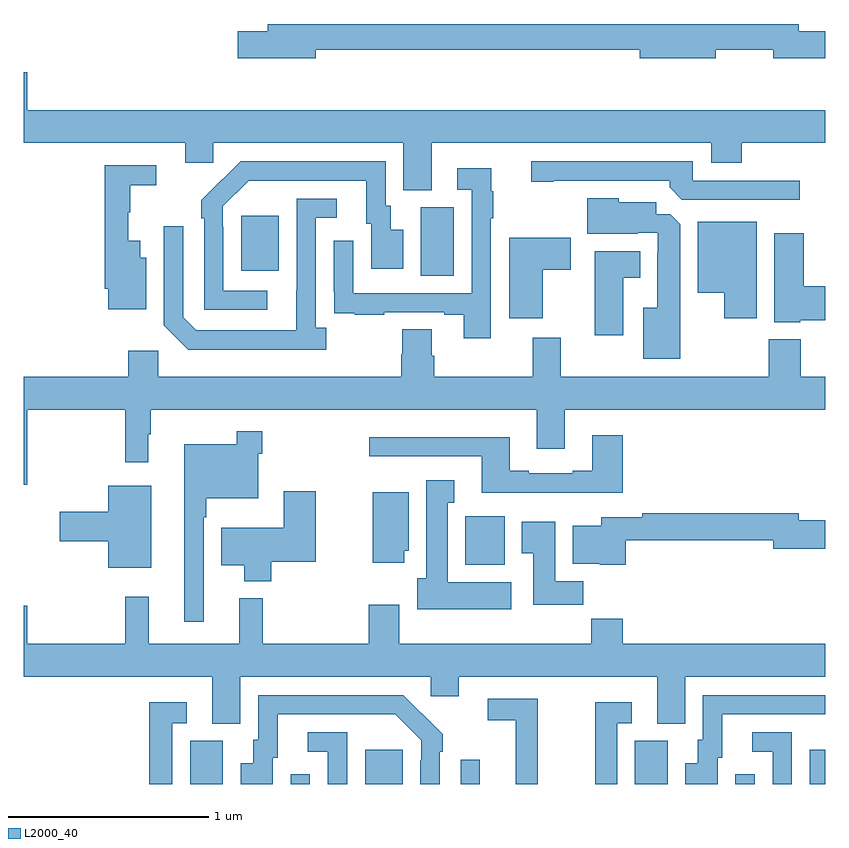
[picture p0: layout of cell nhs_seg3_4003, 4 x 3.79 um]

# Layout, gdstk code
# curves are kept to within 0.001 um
import gdstk
lib = gdstk.Library(unit=1e-6, precision=1e-09)
def R(c, l, rs):  # rectangles x0, y0, x1, y1
    for r in rs: c.add(gdstk.rectangle(r[:2], r[2:], *l))
def P(c, l, *ps):  # polygons
    for p in ps: c.add(gdstk.Polygon(p, *l))
L2000_40 = (2000, 40)

nhs_seg3_4003 = lib.new_cell('nhs_seg3_4003')
R(nhs_seg3_4003, L2000_40, [(321.83,680.4,321.994,680.616), (322.332,680.4,322.428,680.449), (322.703,680.4,322.891,680.572), (323.181,680.4,323.277,680.521), (324.05,680.4,324.214,680.616), (324.552,680.4,324.648,680.449), (324.923,680.4,325,680.572), (323.204,681.494,323.401,681.736), (322.982,682.936,323.146,683.28), (322.085,682.961,322.273,683.236)])
P(nhs_seg3_4003, L2000_40, [(322.456,684.066),(324.074,684.066),(324.074,684.023),(324.454,684.023),(324.454,684.066),(324.74,684.066),(324.74,684.023),(325,684.023),(325,684.158),(324.868,684.158),(324.868,684.194),(322.217,684.194),(322.217,684.158),(322.068,684.158),(322.068,684.023),(322.456,684.023)],
  [(323.035,683.6),(324.431,683.6),(324.431,683.501),(324.584,683.501),(324.584,683.6),(325,683.6),(325,683.764),(321.016,683.764),(321.016,683.953),(321,683.953),(321,683.6),(321.806,683.6),(321.806,683.502),(321.945,683.502),(321.945,683.6),(322.895,683.6),(322.895,683.365),(323.035,683.365)],
  [(322.216,682.863),(321.996,682.863),(321.996,683.183),(321.993,683.183),(321.993,683.283),(322.122,683.412),(322.709,683.412),(322.709,683.196),(322.733,683.196),(322.733,682.971),(322.894,682.971),(322.894,683.167),(322.831,683.167),(322.831,683.286),(322.806,683.286),(322.806,683.508),(322.082,683.508),(321.885,683.313),(321.885,683.225),(321.9,683.225),(321.9,682.767),(322.216,682.767)],
  [(324.874,683.412),(324.339,683.412),(324.339,683.508),(323.532,683.508),(323.532,683.407),(323.644,683.407),(323.644,683.412),(324.224,683.412),(324.224,683.378),(324.285,683.316),(324.874,683.316)],
  [(321.61,683.026),(321.58,683.026),(321.58,683.113),(321.521,683.113),(321.521,683.253),(321.532,683.253),(321.532,683.389),(321.661,683.389),(321.661,683.49),(321.403,683.49),(321.403,682.873),(321.422,682.873),(321.422,682.769),(321.61,682.769)],
  [(323.331,683.224),(323.344,683.224),(323.344,683.36),(323.333,683.36),(323.333,683.473),(323.163,683.473),(323.163,683.367),(323.235,683.367),(323.235,682.851),(322.644,682.851),(322.644,683.113),(322.548,683.113),(322.548,682.858),(322.549,682.858),(322.549,682.749),(322.651,682.749),(322.651,682.743),(322.799,682.743),(322.799,682.755),(323.099,682.755),(323.099,682.743),(323.195,682.743),(323.195,682.626),(323.331,682.626)],
  [(324.277,683.195),(324.228,683.244),(324.157,683.244),(324.157,683.305),(323.97,683.305),(323.97,683.323),(323.813,683.323),(323.813,683.147),(324.065,683.147),(324.065,683.151),(324.165,683.151),(324.165,683.051),(324.161,683.051),(324.161,682.777),(324.092,682.777),(324.092,682.523),(324.277,682.523)],
  [(322.51,682.678),(322.458,682.678),(322.458,683.226),(322.561,683.226),(322.561,683.322),(322.362,683.322),(322.361,682.665),(321.861,682.665),(321.795,682.731),(321.795,683.185),(321.699,683.185),(321.699,682.689),(321.82,682.568),(322.51,682.568)],
  [(324.658,683.206),(324.365,683.206),(324.365,682.853),(324.497,682.853),(324.497,682.725),(324.658,682.725)],
  [(324.876,682.715),(325,682.715),(325,682.886),(324.893,682.886),(324.893,683.149),(324.746,683.149),(324.746,682.706),(324.876,682.706)],
  [(323.59,682.966),(323.731,682.966),(323.731,683.128),(323.423,683.128),(323.423,682.725),(323.59,682.725)],
  [(323.992,682.928),(324.076,682.928),(324.076,683.059),(323.849,683.059),(323.849,682.641),(323.992,682.641)],
  [(321.016,682.268),(321.505,682.268),(321.505,682.005),(321.622,682.005),(321.622,682.145),(321.634,682.145),(321.634,682.268),(323.561,682.268),(323.561,682.074),(323.701,682.074),(323.701,682.268),(325,682.268),(325,682.432),(324.878,682.432),(324.878,682.621),(324.718,682.621),(324.718,682.432),(323.68,682.432),(323.68,682.627),(323.54,682.627),(323.54,682.432),(323.048,682.432),(323.048,682.538),(323.035,682.538),(323.035,682.67),(322.888,682.67),(322.888,682.545),(322.883,682.545),(322.883,682.432),(321.672,682.432),(321.672,682.564),(321.521,682.564),(321.521,682.432),(321,682.432),(321,681.894),(321.016,681.894)],
  [(321.897,681.731),(321.91,681.731),(321.91,681.827),(322.17,681.827),(322.17,682.049),(322.19,682.049),(322.19,682.162),(322.062,682.162),(322.062,682.096),(321.8,682.096),(321.8,681.21),(321.897,681.21)],
  [(323.99,682.141),(323.837,682.141),(323.837,681.964),(323.741,681.964),(323.741,681.951),(323.521,681.951),(323.521,681.964),(323.425,681.964),(323.425,682.132),(322.725,682.132),(322.725,682.035),(323.285,682.035),(323.285,681.854),(323.99,681.854)],
  [(323.434,681.406),(323.116,681.406),(323.116,681.803),(323.149,681.803),(323.149,681.916),(323.009,681.916),(323.009,681.426),(322.964,681.426),(322.964,681.272),(323.434,681.272)],
  [(321.637,681.889),(321.422,681.889),(321.422,681.758),(321.18,681.758),(321.18,681.611),(321.422,681.611),(321.422,681.479),(321.637,681.479)],
  [(322.235,681.509),(322.456,681.509),(322.456,681.862),(322.298,681.862),(322.298,681.679),(321.986,681.679),(321.986,681.491),(322.1,681.491),(322.1,681.413),(322.235,681.413)],
  [(322.9,681.564),(322.921,681.564),(322.921,681.856),(322.742,681.856),(322.742,681.504),(322.9,681.504)],
  [(324.005,681.616),(324.74,681.616),(324.74,681.574),(325,681.574),(325,681.716),(324.868,681.716),(324.868,681.752),(324.088,681.752),(324.088,681.732),(323.882,681.732),(323.882,681.688),(323.741,681.688),(323.741,681.5),(323.874,681.5),(323.874,681.494),(324.005,681.494)],
  [(323.792,681.412),(323.653,681.412),(323.653,681.709),(323.486,681.709),(323.486,681.553),(323.543,681.553),(323.543,681.294),(323.792,681.294)],
  [(322.081,680.936),(323.031,680.936),(323.031,680.838),(323.17,680.838),(323.17,680.936),(324.161,680.936),(324.161,680.701),(324.301,680.701),(324.301,680.936),(325,680.936),(325,681.1),(323.99,681.1),(323.99,681.224),(323.833,681.224),(323.833,681.1),(322.873,681.1),(322.873,681.295),(322.721,681.295),(322.721,681.1),(322.193,681.1),(322.193,681.328),(322.076,681.328),(322.076,681.1),(321.623,681.1),(321.623,681.334),(321.505,681.334),(321.505,681.1),(321.016,681.1),(321.016,681.289),(321,681.289),(321,680.936),(321.941,680.936),(321.941,680.701),(322.081,680.701)],
  [(322.243,680.532),(322.267,680.532),(322.267,680.748),(322.855,680.748),(322.983,680.619),(322.983,680.519),(322.98,680.519),(322.98,680.4),(323.076,680.4),(323.076,680.561),(323.091,680.561),(323.091,680.649),(322.894,680.844),(322.17,680.844),(322.17,680.622),(322.145,680.622),(322.145,680.503),(322.082,680.503),(322.082,680.4),(322.243,680.4)],
  [(324.463,680.532),(324.487,680.532),(324.487,680.748),(325,680.748),(325,680.844),(324.39,680.844),(324.39,680.622),(324.365,680.622),(324.365,680.503),(324.302,680.503),(324.302,680.4),(324.463,680.4)],
  [(323.566,680.826),(323.316,680.826),(323.316,680.718),(323.456,680.718),(323.456,680.4),(323.566,680.4)],
  [(323.961,680.703),(324.034,680.703),(324.034,680.809),(323.853,680.809),(323.853,680.4),(323.961,680.4)],
  [(321.741,680.703),(321.814,680.703),(321.814,680.809),(321.625,680.809),(321.625,680.4),(321.741,680.4)],
  [(322.614,680.658),(322.416,680.658),(322.416,680.562),(322.518,680.562),(322.518,680.4),(322.614,680.4)],
  [(324.834,680.658),(324.636,680.658),(324.636,680.562),(324.738,680.562),(324.738,680.4),(324.834,680.4)])

lib.write_gds('nhs_seg3_4003.gds')
